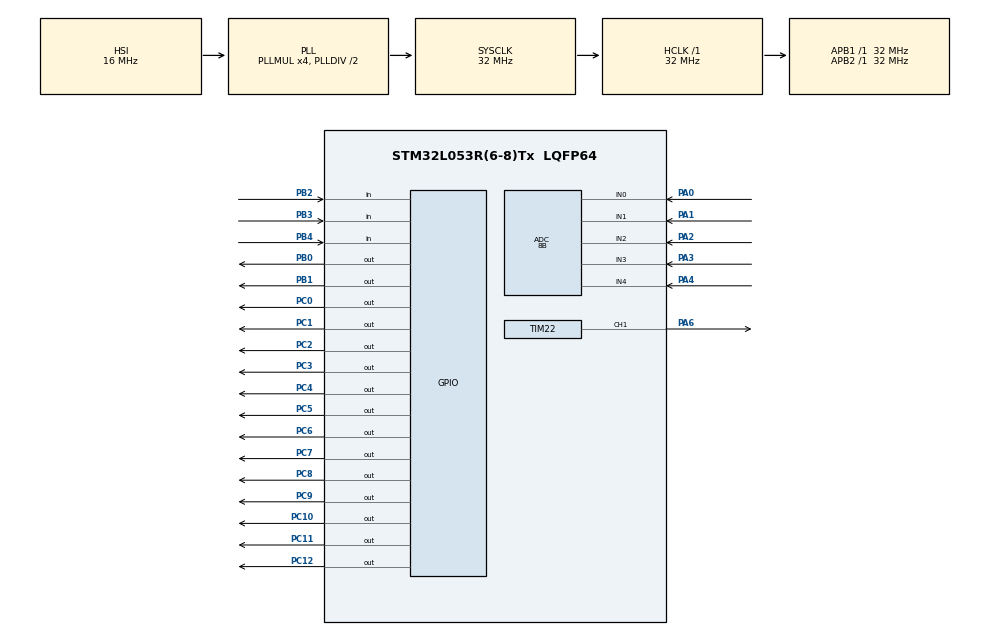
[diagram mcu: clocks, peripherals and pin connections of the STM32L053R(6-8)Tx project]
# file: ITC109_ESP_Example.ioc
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ADC.ClockPrescaler=ADC_CLOCK_ASYNC_DIV64
ADC.ContinuousConvMode=DISABLE
ADC.DMAContinuousRequests=DISABLE
ADC.DataAlign=ADC_DATAALIGN_RIGHT
ADC.DiscontinuousConvMode=ENABLE
ADC.EOCSelection=ADC_EOC_SINGLE_CONV
ADC.EnableAnalogWatchDog=false
ADC.ExternalTrigConv=ADC_SOFTWARE_START
ADC.ExternalTrigConvEdge=ADC_EXTERNALTRIGCONVEDGE_NONE
ADC.LowPowerAutoPowerOff=DISABLE
ADC.LowPowerAutoWait=DISABLE
ADC.LowPowerFrequencyMode=DISABLE
ADC.Overrun=ADC_OVR_DATA_PRESERVED
ADC.OversamplingMode=DISABLE
ADC.Resolution=ADC_RESOLUTION_8B
ADC.SamplingTime=ADC_SAMPLETIME_160CYCLES_5
ADC.ScanConvMode=ADC_SCAN_DIRECTION_FORWARD
Mcu.Family=STM32L0
Mcu.Name=STM32L053R(6-8)Tx
Mcu.Package=LQFP64
NVIC.TIM2_IRQn=true\:0\:0\:false\:false\:true\:true
PA0.Mode=IN0
PA0.Signal=ADC_IN0
PA1.Mode=IN1
PA1.Signal=ADC_IN1
PA2.Mode=IN2
PA2.Signal=ADC_IN2
PA3.Mode=IN3
PA3.Signal=ADC_IN3
PA4.Mode=IN4
PA4.Signal=ADC_IN4
PA6.Signal=S_TIM22_CH1
PB0.Signal=GPIO_Output
PB1.Signal=GPIO_Output
PB2.GPIO_Mode=GPIO_MODE_INPUT
PB2.GPIO_PuPd=GPIO_NOPULL
PB2.Signal=GPIO_Input
PB3.GPIO_Mode=GPIO_MODE_INPUT
PB3.GPIO_PuPd=GPIO_NOPULL
PB3.Signal=GPIO_Input
PB4.GPIO_Mode=GPIO_MODE_INPUT
PB4.GPIO_PuPd=GPIO_NOPULL
PB4.Signal=GPIO_Input
PC0.Signal=GPIO_Output
PC1.Signal=GPIO_Output
PC10.Signal=GPIO_Output
PC11.Signal=GPIO_Output
PC12.Signal=GPIO_Output
PC2.Signal=GPIO_Output
PC3.Signal=GPIO_Output
PC4.Signal=GPIO_Output
PC5.Signal=GPIO_Output
PC6.Signal=GPIO_Output
PC7.Signal=GPIO_Output
PC8.Signal=GPIO_Output
PC9.Signal=GPIO_Output
ProjectManager.HeapSize=0x200
ProjectManager.StackSize=0x400
ProjectManager.TargetToolchain=MDK-ARM V5
RCC.AHBFreq_Value=32000000
RCC.APB1Freq_Value=32000000
RCC.APB1TimFreq_Value=32000000
RCC.APB2Freq_Value=32000000
RCC.APB2TimFreq_Value=32000000
RCC.HCLKFreq_Value=32000000
RCC.HSE_VALUE=8000000
RCC.HSI16_VALUE=16000000
RCC.HSI48_VALUE=48000000
RCC.HSI_VALUE=16000000
RCC.LSE_VALUE=32768
RCC.MSI_VALUE=2097000
RCC.PLLMUL=RCC_PLLMUL_4
RCC.SYSCLKFreq_VALUE=32000000
RCC.SYSCLKSource=RCC_SYSCLKSOURCE_PLLCLK
RCC.VCOOutputFreq_Value=64000000
SH.S_TIM22_CH1.0=TIM22_CH1,PWM Generation1 CH1
TIM2.Period=999
TIM2.Prescaler=31
TIM22.Channel-PWM\ Generation1\ CH1=TIM_CHANNEL_1
TIM22.Period=99
TIM22.Prescaler=106
VP_TIM22_VS_ClockSourceINT.Mode=Internal
VP_TIM2_VS_ClockSourceINT.Mode=Internal
board=custom

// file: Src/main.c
/**
  ******************************************************************************
  * @file           : main.c
  * @brief          : Main program body
  ******************************************************************************
  ** This notice applies to any and all portions of this file
  * that are not between comment pairs USER CODE BEGIN and
  * USER CODE END. Other portions of this file, whether
  * inserted by the user or by software development tools
  * are owned by their respective copyright owners.
  *
  * COPYRIGHT(c) 2021 STMicroelectronics
  *
  * Redistribution and use in source and binary forms, with or without modification,
  * are permitted provided that the following conditions are met:
  *   1. Redistributions of source code must retain the above copyright notice,
  *      this list of conditions and the following disclaimer.
  *   2. Redistributions in binary form must reproduce the above copyright notice,
  *      this list of conditions and the following disclaimer in the documentation
  *      and/or other materials provided with the distribution.
  *   3. Neither the name of STMicroelectronics nor the names of its contributors
  *      may be used to endorse or promote products derived from this software
  *      without specific prior written permission.
  *
  * THIS SOFTWARE IS PROVIDED BY THE COPYRIGHT HOLDERS AND CONTRIBUTORS "AS IS"
  * AND ANY EXPRESS OR IMPLIED WARRANTIES, INCLUDING, BUT NOT LIMITED TO, THE
  * IMPLIED WARRANTIES OF MERCHANTABILITY AND FITNESS FOR A PARTICULAR PURPOSE ARE
  * DISCLAIMED. IN NO EVENT SHALL THE COPYRIGHT HOLDER OR CONTRIBUTORS BE LIABLE
  * FOR ANY DIRECT, INDIRECT, INCIDENTAL, SPECIAL, EXEMPLARY, OR CONSEQUENTIAL
  * DAMAGES (INCLUDING, BUT NOT LIMITED TO, PROCUREMENT OF SUBSTITUTE GOODS OR
  * SERVICES; LOSS OF USE, DATA, OR PROFITS; OR BUSINESS INTERRUPTION) HOWEVER
  * CAUSED AND ON ANY THEORY OF LIABILITY, WHETHER IN CONTRACT, STRICT LIABILITY,
  * OR TORT (INCLUDING NEGLIGENCE OR OTHERWISE) ARISING IN ANY WAY OUT OF THE USE
  * OF THIS SOFTWARE, EVEN IF ADVISED OF THE POSSIBILITY OF SUCH DAMAGE.
  *
  ******************************************************************************
  */
#include "main.h"
#include "stm32l0xx_hal.h"

/* USER CODE BEGIN Includes */
#include "math.h"
/* USER CODE END Includes */

ADC_HandleTypeDef hadc;

TIM_HandleTypeDef htim2;
TIM_HandleTypeDef htim22;

/* USER CODE BEGIN PV */
/* Private variables ---------------------------------------------------------*/
uint8_t mode=0,b_mode,led[3],led_l,t;
uint8_t value[5],h[12]={3,2,1,12,11,10,9,8,7,6,5,4};
double value_g[3];
_Bool led_c,c7=0;
uint32_t tick;
/* USER CODE END PV */

void SystemClock_Config(void);
static void MX_GPIO_Init(void);
static void MX_ADC_Init(void);
static void MX_TIM22_Init(void);
static void MX_TIM2_Init(void);

void HAL_TIM_MspPostInit(TIM_HandleTypeDef *htim);

/* USER CODE BEGIN PFP */
/* Private function prototypes -----------------------------------------------*/
void adc_(void);
void sw(void);
void m0(void);
void m1(void);
void m2(void);
void m3(void);
void m4(void);
void m5(void);
void m6(void);
void m7(void);
/* USER CODE END PFP */

int main(void)
{
  /* USER CODE BEGIN 1 */
	//uint16_t main_i = 0;
	//uint8_t sw_stage = 0;
  /* USER CODE END 1 */

  /* MCU Configuration----------------------------------------------------------*/

  /* Reset of all peripherals, Initializes the Flash interface and the Systick. */
  HAL_Init();

  /* Configure the system clock */
  SystemClock_Config();

  /* Initialize all configured peripherals */
  MX_GPIO_Init();
  MX_ADC_Init();
  MX_TIM22_Init();
  MX_TIM2_Init();
  /* USER CODE BEGIN 2 */
	/*
	HAL_GPIO_WritePin(GPIOB, GPIO_PIN_0, GPIO_PIN_RESET);
	HAL_GPIO_WritePin(GPIOB, GPIO_PIN_1, GPIO_PIN_RESET);

	HAL_GPIO_WritePin(GPIOC, GPIO_PIN_0, GPIO_PIN_SET);
	HAL_GPIO_WritePin(GPIOC, GPIO_PIN_1, GPIO_PIN_SET);
	HAL_GPIO_WritePin(GPIOC, GPIO_PIN_2, GPIO_PIN_SET);
	HAL_GPIO_WritePin(GPIOC, GPIO_PIN_3, GPIO_PIN_SET);
	HAL_GPIO_WritePin(GPIOC, GPIO_PIN_4, GPIO_PIN_SET);
	HAL_GPIO_WritePin(GPIOC, GPIO_PIN_5, GPIO_PIN_SET);
	HAL_GPIO_WritePin(GPIOC, GPIO_PIN_6, GPIO_PIN_SET);
	HAL_GPIO_WritePin(GPIOC, GPIO_PIN_7, GPIO_PIN_SET);
	HAL_GPIO_WritePin(GPIOC, GPIO_PIN_8, GPIO_PIN_SET);
	HAL_GPIO_WritePin(GPIOC, GPIO_PIN_9, GPIO_PIN_SET);
	HAL_GPIO_WritePin(GPIOC, GPIO_PIN_10, GPIO_PIN_SET);
	HAL_GPIO_WritePin(GPIOC, GPIO_PIN_11, GPIO_PIN_SET);
	HAL_GPIO_WritePin(GPIOC, GPIO_PIN_12, GPIO_PIN_SET);
	*/
	GPIOB->BRR=0x03;
	GPIOC->ODR=0x1fff;

	HAL_TIM_PWM_Start(&htim22,TIM_CHANNEL_1);
	TIM22->CCR1=0;
  /* USER CODE END 2 */

  /* Infinite loop */
  while (1)
  {

  /* USER CODE BEGIN 3 */
		sw();

  }
  /* USER CODE END 3 */

}

void SystemClock_Config(void)
{

  RCC_OscInitTypeDef RCC_OscInitStruct;
  RCC_ClkInitTypeDef RCC_ClkInitStruct;

    /**Configure the main internal regulator output voltage
    */
  __HAL_PWR_VOLTAGESCALING_CONFIG(PWR_REGULATOR_VOLTAGE_SCALE1);

    /**Initializes the CPU, AHB and APB busses clocks
    */
  RCC_OscInitStruct.OscillatorType = RCC_OSCILLATORTYPE_HSI;
  RCC_OscInitStruct.HSIState = RCC_HSI_ON;
  RCC_OscInitStruct.HSICalibrationValue = 16;
  RCC_OscInitStruct.PLL.PLLState = RCC_PLL_ON;
  RCC_OscInitStruct.PLL.PLLSource = RCC_PLLSOURCE_HSI;
  RCC_OscInitStruct.PLL.PLLMUL = RCC_PLLMUL_4;
  RCC_OscInitStruct.PLL.PLLDIV = RCC_PLLDIV_2;
  if (HAL_RCC_OscConfig(&RCC_OscInitStruct) != HAL_OK)
  {
    _Error_Handler(__FILE__, __LINE__);
  }

    /**Initializes the CPU, AHB and APB busses clocks
    */
  RCC_ClkInitStruct.ClockType = RCC_CLOCKTYPE_HCLK|RCC_CLOCKTYPE_SYSCLK
                              |RCC_CLOCKTYPE_PCLK1|RCC_CLOCKTYPE_PCLK2;
  RCC_ClkInitStruct.SYSCLKSource = RCC_SYSCLKSOURCE_PLLCLK;
  RCC_ClkInitStruct.AHBCLKDivider = RCC_SYSCLK_DIV1;
  RCC_ClkInitStruct.APB1CLKDivider = RCC_HCLK_DIV1;
  RCC_ClkInitStruct.APB2CLKDivider = RCC_HCLK_DIV1;

  if (HAL_RCC_ClockConfig(&RCC_ClkInitStruct, FLASH_LATENCY_1) != HAL_OK)
  {
    _Error_Handler(__FILE__, __LINE__);
  }

    /**Configure the Systick interrupt time
    */
  HAL_SYSTICK_Config(HAL_RCC_GetHCLKFreq()/1000);

    /**Configure the Systick
    */
  HAL_SYSTICK_CLKSourceConfig(SYSTICK_CLKSOURCE_HCLK);

  /* SysTick_IRQn interrupt configuration */
  HAL_NVIC_SetPriority(SysTick_IRQn, 0, 0);
}

/* ADC init function */
static void MX_ADC_Init(void)
{

  ADC_ChannelConfTypeDef sConfig;

    /**Configure the global features of the ADC (Clock, Resolution, Data Alignment and number of conversion)
    */
  hadc.Instance = ADC1;
  hadc.Init.OversamplingMode = DISABLE;
  hadc.Init.ClockPrescaler = ADC_CLOCK_ASYNC_DIV64;
  hadc.Init.Resolution = ADC_RESOLUTION_8B;
  hadc.Init.SamplingTime = ADC_SAMPLETIME_160CYCLES_5;
  hadc.Init.ScanConvMode = ADC_SCAN_DIRECTION_FORWARD;
  hadc.Init.DataAlign = ADC_DATAALIGN_RIGHT;
  hadc.Init.ContinuousConvMode = DISABLE;
  hadc.Init.DiscontinuousConvMode = ENABLE;
  hadc.Init.ExternalTrigConvEdge = ADC_EXTERNALTRIGCONVEDGE_NONE;
  hadc.Init.ExternalTrigConv = ADC_SOFTWARE_START;
  hadc.Init.DMAContinuousRequests = DISABLE;
  hadc.Init.EOCSelection = ADC_EOC_SINGLE_CONV;
  hadc.Init.Overrun = ADC_OVR_DATA_PRESERVED;
  hadc.Init.LowPowerAutoWait = DISABLE;
  hadc.Init.LowPowerFrequencyMode = DISABLE;
  hadc.Init.LowPowerAutoPowerOff = DISABLE;
  if (HAL_ADC_Init(&hadc) != HAL_OK)
  {
    _Error_Handler(__FILE__, __LINE__);
  }

    /**Configure for the selected ADC regular channel to be converted.
    */
  sConfig.Channel = ADC_CHANNEL_0;
  sConfig.Rank = ADC_RANK_CHANNEL_NUMBER;
  if (HAL_ADC_ConfigChannel(&hadc, &sConfig) != HAL_OK)
  {
    _Error_Handler(__FILE__, __LINE__);
  }

    /**Configure for the selected ADC regular channel to be converted.
    */
  sConfig.Channel = ADC_CHANNEL_1;
  if (HAL_ADC_ConfigChannel(&hadc, &sConfig) != HAL_OK)
  {
    _Error_Handler(__FILE__, __LINE__);
  }

    /**Configure for the selected ADC regular channel to be converted.
    */
  sConfig.Channel = ADC_CHANNEL_2;
  if (HAL_ADC_ConfigChannel(&hadc, &sConfig) != HAL_OK)
  {
    _Error_Handler(__FILE__, __LINE__);
  }

    /**Configure for the selected ADC regular channel to be converted.
    */
  sConfig.Channel = ADC_CHANNEL_3;
  if (HAL_ADC_ConfigChannel(&hadc, &sConfig) != HAL_OK)
  {
    _Error_Handler(__FILE__, __LINE__);
  }

    /**Configure for the selected ADC regular channel to be converted.
    */
  sConfig.Channel = ADC_CHANNEL_4;
  if (HAL_ADC_ConfigChannel(&hadc, &sConfig) != HAL_OK)
  {
    _Error_Handler(__FILE__, __LINE__);
  }

}

/* TIM2 init function */
static void MX_TIM2_Init(void)
{

  TIM_ClockConfigTypeDef sClockSourceConfig;
  TIM_MasterConfigTypeDef sMasterConfig;

  htim2.Instance = TIM2;
  htim2.Init.Prescaler = 31;
  htim2.Init.CounterMode = TIM_COUNTERMODE_UP;
  htim2.Init.Period = 999;
  htim2.Init.ClockDivision = TIM_CLOCKDIVISION_DIV1;
  if (HAL_TIM_Base_Init(&htim2) != HAL_OK)
  {
    _Error_Handler(__FILE__, __LINE__);
  }

  sClockSourceConfig.ClockSource = TIM_CLOCKSOURCE_INTERNAL;
  if (HAL_TIM_ConfigClockSource(&htim2, &sClockSourceConfig) != HAL_OK)
  {
    _Error_Handler(__FILE__, __LINE__);
  }

  sMasterConfig.MasterOutputTrigger = TIM_TRGO_RESET;
  sMasterConfig.MasterSlaveMode = TIM_MASTERSLAVEMODE_DISABLE;
  if (HAL_TIMEx_MasterConfigSynchronization(&htim2, &sMasterConfig) != HAL_OK)
  {
    _Error_Handler(__FILE__, __LINE__);
  }

}

/* TIM22 init function */
static void MX_TIM22_Init(void)
{

  TIM_ClockConfigTypeDef sClockSourceConfig;
  TIM_MasterConfigTypeDef sMasterConfig;
  TIM_OC_InitTypeDef sConfigOC;

  htim22.Instance = TIM22;
  htim22.Init.Prescaler = 106;
  htim22.Init.CounterMode = TIM_COUNTERMODE_UP;
  htim22.Init.Period = 99;
  htim22.Init.ClockDivision = TIM_CLOCKDIVISION_DIV1;
  if (HAL_TIM_Base_Init(&htim22) != HAL_OK)
  {
    _Error_Handler(__FILE__, __LINE__);
  }

  sClockSourceConfig.ClockSource = TIM_CLOCKSOURCE_INTERNAL;
  if (HAL_TIM_ConfigClockSource(&htim22, &sClockSourceConfig) != HAL_OK)
  {
    _Error_Handler(__FILE__, __LINE__);
  }

  if (HAL_TIM_PWM_Init(&htim22) != HAL_OK)
  {
    _Error_Handler(__FILE__, __LINE__);
  }

  sMasterConfig.MasterOutputTrigger = TIM_TRGO_RESET;
  sMasterConfig.MasterSlaveMode = TIM_MASTERSLAVEMODE_DISABLE;
  if (HAL_TIMEx_MasterConfigSynchronization(&htim22, &sMasterConfig) != HAL_OK)
  {
    _Error_Handler(__FILE__, __LINE__);
  }

  sConfigOC.OCMode = TIM_OCMODE_PWM1;
  sConfigOC.Pulse = 0;
  sConfigOC.OCPolarity = TIM_OCPOLARITY_HIGH;
  sConfigOC.OCFastMode = TIM_OCFAST_DISABLE;
  if (HAL_TIM_PWM_ConfigChannel(&htim22, &sConfigOC, TIM_CHANNEL_1) != HAL_OK)
  {
    _Error_Handler(__FILE__, __LINE__);
  }

  HAL_TIM_MspPostInit(&htim22);

}

/** Configure pins as
        * Analog
        * Input
        * Output
        * EVENT_OUT
        * EXTI
*/
static void MX_GPIO_Init(void)
{

  GPIO_InitTypeDef GPIO_InitStruct;

  /* GPIO Ports Clock Enable */
  __HAL_RCC_GPIOC_CLK_ENABLE();
  __HAL_RCC_GPIOA_CLK_ENABLE();
  __HAL_RCC_GPIOB_CLK_ENABLE();

  /*Configure GPIO pin Output Level */
  HAL_GPIO_WritePin(GPIOC, GPIO_PIN_0|GPIO_PIN_1|GPIO_PIN_2|GPIO_PIN_3
                          |GPIO_PIN_4|GPIO_PIN_5|GPIO_PIN_6|GPIO_PIN_7
                          |GPIO_PIN_8|GPIO_PIN_9|GPIO_PIN_10|GPIO_PIN_11
                          |GPIO_PIN_12, GPIO_PIN_RESET);

  /*Configure GPIO pin Output Level */
  HAL_GPIO_WritePin(GPIOB, GPIO_PIN_0|GPIO_PIN_1, GPIO_PIN_RESET);

  /*Configure GPIO pins : PC0 PC1 PC2 PC3
                           PC4 PC5 PC6 PC7
                           PC8 PC9 PC10 PC11
                           PC12 */
  GPIO_InitStruct.Pin = GPIO_PIN_0|GPIO_PIN_1|GPIO_PIN_2|GPIO_PIN_3
                          |GPIO_PIN_4|GPIO_PIN_5|GPIO_PIN_6|GPIO_PIN_7
                          |GPIO_PIN_8|GPIO_PIN_9|GPIO_PIN_10|GPIO_PIN_11
                          |GPIO_PIN_12;
  GPIO_InitStruct.Mode = GPIO_MODE_OUTPUT_PP;
  GPIO_InitStruct.Pull = GPIO_NOPULL;
  GPIO_InitStruct.Speed = GPIO_SPEED_FREQ_LOW;
  HAL_GPIO_Init(GPIOC, &GPIO_InitStruct);

  /*Configure GPIO pins : PB0 PB1 */
  GPIO_InitStruct.Pin = GPIO_PIN_0|GPIO_PIN_1;
  GPIO_InitStruct.Mode = GPIO_MODE_OUTPUT_PP;
  GPIO_InitStruct.Pull = GPIO_NOPULL;
  GPIO_InitStruct.Speed = GPIO_SPEED_FREQ_LOW;
  HAL_GPIO_Init(GPIOB, &GPIO_InitStruct);

  /*Configure GPIO pins : PB2 PB3 PB4 */
  GPIO_InitStruct.Pin = GPIO_PIN_2|GPIO_PIN_3|GPIO_PIN_4;
  GPIO_InitStruct.Mode = GPIO_MODE_INPUT;
  GPIO_InitStruct.Pull = GPIO_NOPULL;
  HAL_GPIO_Init(GPIOB, &GPIO_InitStruct);

}

/* USER CODE BEGIN 4 */
void adc_()
{
	HAL_ADC_Start(&hadc);
	for(uint8_t i=0; i<5; i++)
	{
		HAL_ADC_PollForConversion(&hadc,10);
		value[i]=HAL_ADC_GetValue(&hadc);
	}
	HAL_ADC_Stop(&hadc);
	float num;
	for(uint8_t i=0; i<3; i++)
	{
		num=0;
		for(uint8_t ii=0; ii<20; ii++)
		{
			num++;
			if(value[i]<=num*4.25+85)
			{
				value_g[i]=(num*0.1)-1;
				break;
			}
		}
	}
}
void sw()
{
	mode=((GPIOB->IDR)&0x1C)>>2;
	switch (mode)
	{
		case 0:
			m0();
		break;
		case 1:
			m1();
		break;
		case 2:
			m2();
		break;
		case 3:
			m3();
		break;
		case 4:
			m4();
		break;
		case 5:
			m5();
		break;
		case 6:
			m6();
		break;
		case 7:
			m7();
		break;

	}
}
void m0()
{
	if(mode!=b_mode)
	{
		b_mode=mode;
		HAL_TIM_Base_Stop_IT(&htim2);
		GPIOB->BRR=0x03;
		GPIOC->ODR=0x1fff;
	}
}
void m1()
{
	if(mode!=b_mode)
	{
		b_mode=mode;
		GPIOB->BRR=0x03;
		GPIOC->ODR=0x1fff;
		HAL_TIM_Base_Start_IT(&htim2);
		led[0]=6;
		led[1]=6;
		led[2]=0;
		tick=HAL_GetTick();
	}
	if(HAL_GetTick()-tick>=1000)
	{
		if(++led[0]==12)
		{
			if(++led[1]==13) led[1]=1;
		}
		if(led[0]==13) led[0]=1;
		tick=HAL_GetTick();
	}
}
void m2()
{
	if(mode!=b_mode)
	{
		b_mode=mode;
		GPIOB->BRR=0x03;
		GPIOC->ODR=~0x1ffe;
		HAL_TIM_Base_Start_IT(&htim2);
		tick=HAL_GetTick();
		led_c=0;
		t=0;
	}
	if(HAL_GetTick()-tick>=200)
	{
		t++;
		tick=HAL_GetTick();
		if(t<5) led_l+=2;
		else led_l-=2;
		if(t>=10)
		{
			t=0;
			led_c=~led_c;
			led_l=0;
		}
	}
}
void m3()
{
	if(mode!=b_mode)
	{
		b_mode=mode;
		HAL_TIM_Base_Stop_IT(&htim2);
		GPIOB->BRR=0x03;
		GPIOC->ODR=0x1fff;
		tick=HAL_GetTick();
	}
	if(HAL_GetTick()-tick>=100)
	{
		adc_();
		if(value_g[0]<-0.7)
		{
			GPIOB->BRR=0x03;
			GPIOC->ODR=0x1fff;
			GPIOB->BSRR=0x01;
			GPIOC->BRR=1<<3;
		}else if(value_g[0]<-0.3)
		{
			GPIOB->BRR=0x03;
			GPIOC->ODR=0x1fff;
			GPIOB->BSRR=0x02;
			GPIOC->BRR=1<<3;
		}else if(value_g[0]< 0.3)
		{
			GPIOB->BRR=0x03;
			GPIOC->ODR=0x1fff;
			GPIOB->BSRR=0x02;
			GPIOC->BRR=1<<0;
		}else if(value_g[0]< 0.7)
		{
			GPIOB->BRR=0x03;
			GPIOC->ODR=0x1fff;
			GPIOB->BSRR=0x02;
			GPIOC->BRR=1<<9;
		}else
		{
			GPIOB->BRR=0x03;
			GPIOC->ODR=0x1fff;
			GPIOB->BSRR=0x01;
			GPIOC->BRR=1<<9;
		}
		tick=HAL_GetTick();
	}
}
void m4()
{
	if(mode!=b_mode)
	{
		b_mode=mode;
		HAL_TIM_Base_Stop_IT(&htim2);
		GPIOB->BRR=0x03;
		GPIOC->ODR=0x1fff;
		tick=HAL_GetTick();
	}
	if(HAL_GetTick()-tick>=100)
	{
		adc_();
		float g=value[3]*3.3/255;
		if(g<0.8)
		{
			GPIOB->BRR=0x03;
			GPIOC->ODR=0x1fff;
			GPIOB->BSRR=0x01;
			GPIOC->BRR=1<<9;
		}else if(g<1.2)
		{
			GPIOB->BRR=0x03;
			GPIOC->ODR=0x1fff;
			GPIOB->BSRR=0x02;
			GPIOC->BRR=1<<9;
		}else if(g<2)
		{
			GPIOB->BRR=0x03;
			GPIOC->ODR=0x1fff;
			GPIOB->BSRR=0x02;
			GPIOC->BRR=1<<0;
		}else if(g<2.4)
		{
			GPIOB->BRR=0x03;
			GPIOC->ODR=0x1fff;
			GPIOB->BSRR=0x02;
			GPIOC->BRR=1<<3;
		}else
		{
			GPIOB->BRR=0x03;
			GPIOC->ODR=0x1fff;
			GPIOB->BSRR=0x01;
			GPIOC->BRR=1<<3;
		}
		tick=HAL_GetTick();
	}
}
void m5()
{
	if(mode!=b_mode)
	{
		b_mode=mode;
		HAL_TIM_Base_Stop_IT(&htim2);
		GPIOB->BRR=0x03;
		GPIOC->ODR=0x1fff;
		tick=HAL_GetTick();
	}
	if(HAL_GetTick()-tick>=100)
	{
		adc_();
		double xy=sqrt(value_g[0]*value_g[0]+value_g[1]*value_g[1]),theta=atan2(value_g[1],value_g[0]);
		theta = theta / 3.1415926 * 180;
		GPIOB->BRR=0x03;
		GPIOC->ODR=0x1fff;
		if(xy<0.3)
		{
			GPIOB->BSRR=0x02;
			GPIOC->BRR=1<<0;
		}else if(xy<0.7)
		{
			GPIOB->BSRR=0x02;
			if(theta<15) GPIOC->BRR=1<<3;
			else if(theta<45) GPIOC->BRR=1<<2;
			else if(theta<75) GPIOC->BRR=1<<1;
			else if(theta<105) GPIOC->BRR=1<<12;
			else if(theta<135) GPIOC->BRR=1<<11;
			else if(theta<165) GPIOC->BRR=1<<10;
			else if(theta<195) GPIOC->BRR=1<<9;
			else if(theta<225) GPIOC->BRR=1<<8;
			else if(theta<255) GPIOC->BRR=1<<7;
			else if(theta<285) GPIOC->BRR=1<<6;
			else if(theta<315) GPIOC->BRR=1<<5;
			else if(theta<345) GPIOC->BRR=1<<4;
		}else
		{
			GPIOB->BSRR=0x01;
			if(theta<15) GPIOC->BRR=1<<3;
			else if(theta<45) GPIOC->BRR=1<<2;
			else if(theta<75) GPIOC->BRR=1<<1;
			else if(theta<105) GPIOC->BRR=1<<12;
			else if(theta<135) GPIOC->BRR=1<<11;
			else if(theta<165) GPIOC->BRR=1<<10;
			else if(theta<195) GPIOC->BRR=1<<9;
			else if(theta<225) GPIOC->BRR=1<<8;
			else if(theta<255) GPIOC->BRR=1<<7;
			else if(theta<285) GPIOC->BRR=1<<6;
			else if(theta<315) GPIOC->BRR=1<<5;
			else if(theta<345) GPIOC->BRR=1<<4;
		}
		tick=HAL_GetTick();
	}
}
void m6()
{
	if(mode!=b_mode)
	{
		b_mode=mode;
		GPIOB->BRR=0x03;
		GPIOC->ODR=0x1fff;
		HAL_TIM_Base_Start_IT(&htim2);
		tick=HAL_GetTick();
		t=1;
	}
	if(HAL_GetTick()-tick>=200)
	{
		TIM22->CCR1=0;
		adc_();
		double xy=sqrt((value_g[0]*value_g[0])+(value_g[1]*value_g[1])),theta=atan2(value_g[1],value_g[0]);
		theta = theta / 3.1415926 * 180;
		t++;
		if(xy>=0.3)
		{

			for(uint8_t i=1;i<13;i++)
			{
				if(theta<=(i*30)-15)
				{
					if(h[i]==t) TIM22->CCR1=50;
					if(xy<0.7)
					{
						led[1]=i;
					}else
					{
						led[0]=i;
					}
				}
			}
		}
		tick=HAL_GetTick();
	}
}
void m7()
{
	if(mode!=b_mode)
	{
		b_mode=mode;
		GPIOB->BRR=0x03;
		GPIOC->ODR=0x1fff;
		HAL_TIM_Base_Stop_IT(&htim2);
		tick=HAL_GetTick();
	}
	if(HAL_GetTick()-tick>=100)
	{
		adc_();
		double xy=sqrt((value_g[0]*value_g[0])+(value_g[1]*value_g[1])),theta=atan2(value_g[1],value_g[0]);
		theta = theta / 3.1415926 * 180;
		c7=0;
		if(xy<0.3)
		{
			c7=1;
		}else if(xy<0.7)
		{
			GPIOB->BRR=0x03;
			GPIOC->ODR=0x1fff;
		}else
		{
			GPIOB->BRR=0x03;
			GPIOC->ODR=0x1fff;
			GPIOB->BSRR=0x03;
			if(theta<15) GPIOC->BRR=(1<<3)|0x01;
			else if(theta<45) GPIOC->BRR=(1<<2)|0x01;
			else if(theta<75) GPIOC->BRR=(1<<1)|0x01;
			else if(theta<105) GPIOC->BRR=(1<<12)|0x01;
			else if(theta<135) GPIOC->BRR=(1<<11)|0x01;
			else if(theta<165) GPIOC->BRR=(1<<10)|0x01;
			else if(theta<195) GPIOC->BRR=(1<<9)|0x01;
			else if(theta<225) GPIOC->BRR=(1<<8)|0x01;
			else if(theta<255) GPIOC->BRR=(1<<7)|0x01;
			else if(theta<285) GPIOC->BRR=(1<<6)|0x01;
			else if(theta<315) GPIOC->BRR=(1<<5)|0x01;
			else if(theta<345) GPIOC->BRR=(1<<4)|0x01;
		}
		tick=HAL_GetTick();
	}
}
/*
void HAL_TIM_PeriodElapsedCallback(TIM_HandleTypeDef *htim2)
{

}
*/
/* USER CODE END 4 */

void _Error_Handler(char *file, int line)
{
  while(1)
  {
  }
}

/************************ (C) COPYRIGHT STMicroelectronics *****END OF FILE****/
